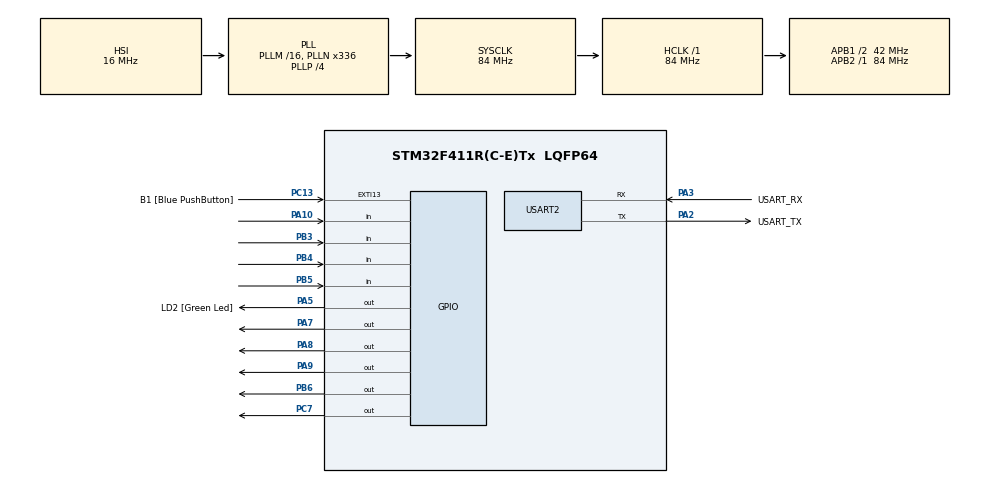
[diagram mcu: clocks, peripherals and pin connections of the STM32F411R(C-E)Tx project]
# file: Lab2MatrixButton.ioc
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Mcu.Family=STM32F4
Mcu.Name=STM32F411R(C-E)Tx
Mcu.Package=LQFP64
NVIC.PriorityGroup=NVIC_PRIORITYGROUP_0
PA10.GPIO_Mode=GPIO_MODE_INPUT
PA10.GPIO_PuPd=GPIO_PULLUP
PA10.Signal=GPIO_Input
PA13.GPIO_Label=TMS
PA13.Mode=Serial_Wire
PA13.Signal=SYS_JTMS-SWDIO
PA14.GPIO_Label=TCK
PA14.Mode=Serial_Wire
PA14.Signal=SYS_JTCK-SWCLK
PA2.GPIO_Label=USART_TX
PA2.Mode=Asynchronous
PA2.Signal=USART2_TX
PA3.GPIO_Label=USART_RX
PA3.Mode=Asynchronous
PA3.Signal=USART2_RX
PA5.GPIO_Label=LD2 [Green Led]
PA5.Signal=GPIO_Output
PA7.GPIO_ModeDefaultOutputPP=GPIO_MODE_OUTPUT_PP
PA7.PinState=GPIO_PIN_RESET
PA7.Signal=GPIO_Output
PA8.Signal=GPIO_Output
PA9.GPIO_ModeDefaultOutputPP=GPIO_MODE_OUTPUT_PP
PA9.PinState=GPIO_PIN_RESET
PA9.Signal=GPIO_Output
PB3.GPIO_Mode=GPIO_MODE_INPUT
PB3.GPIO_PuPd=GPIO_PULLUP
PB3.Signal=GPIO_Input
PB4.GPIO_Mode=GPIO_MODE_INPUT
PB4.GPIO_PuPd=GPIO_PULLUP
PB4.Signal=GPIO_Input
PB5.GPIO_Mode=GPIO_MODE_INPUT
PB5.GPIO_PuPd=GPIO_PULLUP
PB5.Signal=GPIO_Input
PB6.GPIO_ModeDefaultOutputPP=GPIO_MODE_OUTPUT_PP
PB6.PinState=GPIO_PIN_RESET
PB6.Signal=GPIO_Output
PC13-ANTI_TAMP.GPIO_Label=B1 [Blue PushButton]
PC13-ANTI_TAMP.GPIO_ModeDefaultEXTI=GPIO_MODE_IT_FALLING
PC13-ANTI_TAMP.Signal=GPXTI13
PC14-OSC32_IN.Mode=LSE-External-Oscillator
PC14-OSC32_IN.Signal=RCC_OSC32_IN
PC15-OSC32_OUT.Mode=LSE-External-Oscillator
PC15-OSC32_OUT.Signal=RCC_OSC32_OUT
PC7.GPIO_ModeDefaultOutputPP=GPIO_MODE_OUTPUT_PP
PC7.PinState=GPIO_PIN_RESET
PC7.Signal=GPIO_Output
PH0\ -\ OSC_IN.Mode=HSE-External-Clock-Source
PH0\ -\ OSC_IN.Signal=RCC_OSC_IN
PH1\ -\ OSC_OUT.Mode=HSE-External-Clock-Source
PH1\ -\ OSC_OUT.Signal=RCC_OSC_OUT
ProjectManager.HeapSize=0x200
ProjectManager.StackSize=0x400
ProjectManager.TargetToolchain=STM32CubeIDE
RCC.48MHZClocksFreq_Value=84000000
RCC.AHBFreq_Value=84000000
RCC.APB1CLKDivider=RCC_HCLK_DIV2
RCC.APB1Freq_Value=42000000
RCC.APB1TimFreq_Value=84000000
RCC.APB2Freq_Value=84000000
RCC.APB2TimFreq_Value=84000000
RCC.CortexFreq_Value=84000000
RCC.FLatency-AdvancedSettings=FLASH_LATENCY_2
RCC.HCLKFreq_Value=84000000
RCC.HSE_VALUE=8000000
RCC.HSI_VALUE=16000000
RCC.PLLN=336
RCC.PLLP=RCC_PLLP_DIV4
RCC.SYSCLKFreq_VALUE=84000000
RCC.SYSCLKSource=RCC_SYSCLKSOURCE_PLLCLK
RCC.VCOOutputFreq_Value=336000000
USART2.VirtualMode=VM_ASYNC
board=NUCLEO-F411RE

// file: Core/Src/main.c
/* USER CODE BEGIN Header */
/**
  ******************************************************************************
  * @file           : main.c
  * @brief          : Main program body
  ******************************************************************************
  * @attention
  *
  * <h2><center>&copy; Copyright (c) 2021 STMicroelectronics.
  * All rights reserved.</center></h2>
  *
  * This software component is licensed by ST under BSD 3-Clause license,
  * the "License"; You may not use this file except in compliance with the
  * License. You may obtain a copy of the License at:
  *                        opensource.org/licenses/BSD-3-Clause
  *
  ******************************************************************************
  */
/* USER CODE END Header */
#include "main.h"

UART_HandleTypeDef huart2;

/* USER CODE BEGIN PV */
//save Value of Button
uint16_t ButtonMatrixValue = 0;

//State of ButtonMatrix
uint16_t ButtonMatrixState[2] = {0};

//Button time stamp
uint32_t ButtonMatrixTimestamp = 0;

//LD2State
uint8_t LED_On = 0;

//Password
uint16_t Password[12] = {1};

//number of Trick
uint8_t trick =0;

/* USER CODE END PV */

void SystemClock_Config(void);
static void MX_GPIO_Init(void);
static void MX_USART2_UART_Init(void);
/* USER CODE BEGIN PFP */
//scan and update data of Button
void ButtonMatrixUpdate();
/* USER CODE END PFP */

int main(void)
{

  /* MCU Configuration--------------------------------------------------------*/

  /* Reset of all peripherals, Initializes the Flash interface and the Systick. */
  HAL_Init();

  /* Configure the system clock */
  SystemClock_Config();

  /* Initialize all configured peripherals */
  MX_GPIO_Init();
  MX_USART2_UART_Init();

  /* Infinite loop */
  while (1)
  {

    /* USER CODE BEGIN 3 */

	  ButtonMatrixUpdate();
	  ButtonMatrixState[1] = ButtonMatrixValue ;

	  //Trick
	  if ((ButtonMatrixState[1] != 0) && (ButtonMatrixState[0] == 0))
	  {
		  //trick = 1 ;
		  trick = trick+1 ; //Trick + 1
	  }

	  //Button trick
	  if (ButtonMatrixValue == 8)	//Clear Button is tricking
	  {
		  trick = 0 ;
		  Password[0] = 0 ;
		  Password[11] = 0 ;
		  LED_On = 0;
	  }
	  //Not Clear Button is tricking and trick = 12
	  else if ((ButtonMatrixValue != 0) && (trick <= 12))
	  {
		  Password[trick-1] = ButtonMatrixValue ;
	  }

	  //Check 62340500028ok in 12 Trick
	  if ((Password[0] == 64)				//6
			  && (Password[1] == 512) 		//2
			  && (Password[2] == 1024) 		//3
			  && (Password[3] == 16) 		//4
			  && (Password[4] == 4096) 		//0
			  && (Password[5] == 32) 		//5
			  && (Password[6] == 4096) 		//0
			  && (Password[7] == 4096) 		//0
			  && (Password[8] == 4096) 		//0
			  && (Password[9] == 512) 		//2
			  && (Password[10] == 2) 		//8
			  && (Password[11] == 32768) 	//Press Okay
			  && (trick == 12)) 			//in trick 12
	  {
		  LED_On = 1 ;
	  }

	  if (LED_On == 1)	//Run LED
	  {
		  HAL_GPIO_WritePin(GPIOA, GPIO_PIN_8, GPIO_PIN_RESET);
	  }
	  else
	  {
		  HAL_GPIO_WritePin(GPIOA, GPIO_PIN_8, GPIO_PIN_SET);
	  }

	  ButtonMatrixState[0] = ButtonMatrixState[1] ;

  }
  /* USER CODE END 3 */
}

void SystemClock_Config(void)
{
  RCC_OscInitTypeDef RCC_OscInitStruct = {0};
  RCC_ClkInitTypeDef RCC_ClkInitStruct = {0};

  /** Configure the main internal regulator output voltage
  */
  __HAL_RCC_PWR_CLK_ENABLE();
  __HAL_PWR_VOLTAGESCALING_CONFIG(PWR_REGULATOR_VOLTAGE_SCALE1);
  /** Initializes the RCC Oscillators according to the specified parameters
  * in the RCC_OscInitTypeDef structure.
  */
  RCC_OscInitStruct.OscillatorType = RCC_OSCILLATORTYPE_HSI;
  RCC_OscInitStruct.HSIState = RCC_HSI_ON;
  RCC_OscInitStruct.HSICalibrationValue = RCC_HSICALIBRATION_DEFAULT;
  RCC_OscInitStruct.PLL.PLLState = RCC_PLL_ON;
  RCC_OscInitStruct.PLL.PLLSource = RCC_PLLSOURCE_HSI;
  RCC_OscInitStruct.PLL.PLLM = 16;
  RCC_OscInitStruct.PLL.PLLN = 336;
  RCC_OscInitStruct.PLL.PLLP = RCC_PLLP_DIV4;
  RCC_OscInitStruct.PLL.PLLQ = 4;
  if (HAL_RCC_OscConfig(&RCC_OscInitStruct) != HAL_OK)
  {
    Error_Handler();
  }
  /** Initializes the CPU, AHB and APB buses clocks
  */
  RCC_ClkInitStruct.ClockType = RCC_CLOCKTYPE_HCLK|RCC_CLOCKTYPE_SYSCLK
                              |RCC_CLOCKTYPE_PCLK1|RCC_CLOCKTYPE_PCLK2;
  RCC_ClkInitStruct.SYSCLKSource = RCC_SYSCLKSOURCE_PLLCLK;
  RCC_ClkInitStruct.AHBCLKDivider = RCC_SYSCLK_DIV1;
  RCC_ClkInitStruct.APB1CLKDivider = RCC_HCLK_DIV2;
  RCC_ClkInitStruct.APB2CLKDivider = RCC_HCLK_DIV1;

  if (HAL_RCC_ClockConfig(&RCC_ClkInitStruct, FLASH_LATENCY_2) != HAL_OK)
  {
    Error_Handler();
  }
}

static void MX_USART2_UART_Init(void)
{

  huart2.Instance = USART2;
  huart2.Init.BaudRate = 115200;
  huart2.Init.WordLength = UART_WORDLENGTH_8B;
  huart2.Init.StopBits = UART_STOPBITS_1;
  huart2.Init.Parity = UART_PARITY_NONE;
  huart2.Init.Mode = UART_MODE_TX_RX;
  huart2.Init.HwFlowCtl = UART_HWCONTROL_NONE;
  huart2.Init.OverSampling = UART_OVERSAMPLING_16;
  if (HAL_UART_Init(&huart2) != HAL_OK)
  {
    Error_Handler();
  }

}

static void MX_GPIO_Init(void)
{
  GPIO_InitTypeDef GPIO_InitStruct = {0};

  /* GPIO Ports Clock Enable */
  __HAL_RCC_GPIOC_CLK_ENABLE();
  __HAL_RCC_GPIOH_CLK_ENABLE();
  __HAL_RCC_GPIOA_CLK_ENABLE();
  __HAL_RCC_GPIOB_CLK_ENABLE();

  /*Configure GPIO pin Output Level */
  HAL_GPIO_WritePin(GPIOA, LD2_Pin|GPIO_PIN_7|GPIO_PIN_8|GPIO_PIN_9, GPIO_PIN_RESET);

  /*Configure GPIO pin Output Level */
  HAL_GPIO_WritePin(GPIOC, GPIO_PIN_7, GPIO_PIN_RESET);

  /*Configure GPIO pin Output Level */
  HAL_GPIO_WritePin(GPIOB, GPIO_PIN_6, GPIO_PIN_RESET);

  /*Configure GPIO pin : B1_Pin */
  GPIO_InitStruct.Pin = B1_Pin;
  GPIO_InitStruct.Mode = GPIO_MODE_IT_FALLING;
  GPIO_InitStruct.Pull = GPIO_NOPULL;
  HAL_GPIO_Init(B1_GPIO_Port, &GPIO_InitStruct);

  /*Configure GPIO pins : LD2_Pin PA7 PA8 PA9 */
  GPIO_InitStruct.Pin = LD2_Pin|GPIO_PIN_7|GPIO_PIN_8|GPIO_PIN_9;
  GPIO_InitStruct.Mode = GPIO_MODE_OUTPUT_PP;
  GPIO_InitStruct.Pull = GPIO_NOPULL;
  GPIO_InitStruct.Speed = GPIO_SPEED_FREQ_LOW;
  HAL_GPIO_Init(GPIOA, &GPIO_InitStruct);

  /*Configure GPIO pin : PC7 */
  GPIO_InitStruct.Pin = GPIO_PIN_7;
  GPIO_InitStruct.Mode = GPIO_MODE_OUTPUT_PP;
  GPIO_InitStruct.Pull = GPIO_NOPULL;
  GPIO_InitStruct.Speed = GPIO_SPEED_FREQ_LOW;
  HAL_GPIO_Init(GPIOC, &GPIO_InitStruct);

  /*Configure GPIO pin : PA10 */
  GPIO_InitStruct.Pin = GPIO_PIN_10;
  GPIO_InitStruct.Mode = GPIO_MODE_INPUT;
  GPIO_InitStruct.Pull = GPIO_PULLUP;
  HAL_GPIO_Init(GPIOA, &GPIO_InitStruct);

  /*Configure GPIO pins : PB3 PB4 PB5 */
  GPIO_InitStruct.Pin = GPIO_PIN_3|GPIO_PIN_4|GPIO_PIN_5;
  GPIO_InitStruct.Mode = GPIO_MODE_INPUT;
  GPIO_InitStruct.Pull = GPIO_PULLUP;
  HAL_GPIO_Init(GPIOB, &GPIO_InitStruct);

  /*Configure GPIO pin : PB6 */
  GPIO_InitStruct.Pin = GPIO_PIN_6;
  GPIO_InitStruct.Mode = GPIO_MODE_OUTPUT_PP;
  GPIO_InitStruct.Pull = GPIO_NOPULL;
  GPIO_InitStruct.Speed = GPIO_SPEED_FREQ_LOW;
  HAL_GPIO_Init(GPIOB, &GPIO_InitStruct);

}

/* USER CODE BEGIN 4 */
//Port/Pin array, 0-3 input, 4-7 output
GPIO_TypeDef *ButtonMatrixPort[8] = {GPIOA,GPIOB,GPIOB,GPIOB,GPIOA,GPIOC,GPIOB,GPIOA};
uint16_t ButtonMatrixPin[8] = {GPIO_PIN_10,GPIO_PIN_3,GPIO_PIN_5,GPIO_PIN_4,GPIO_PIN_9,GPIO_PIN_7,GPIO_PIN_6,GPIO_PIN_7};
uint8_t ButtonMatrixRow = 0; // What R Row
void ButtonMatrixUpdate()
{
	if(HAL_GetTick() - ButtonMatrixTimestamp >= 100)
	{
		ButtonMatrixTimestamp = HAL_GetTick();
		int i;
		for(i = 0; i<4; ++i)
		{
			GPIO_PinState Pinstate = HAL_GPIO_ReadPin(ButtonMatrixPort[i], ButtonMatrixPin[i]);
			if(Pinstate == GPIO_PIN_RESET) // Button Press
			{
				ButtonMatrixValue |= (uint16_t)0x1 << (i + ButtonMatrixRow*4);
			}
			else
			{
				ButtonMatrixValue &= ~((uint16_t)0x1 << (i + ButtonMatrixRow*4));
			}
		}
		uint8_t NowOutputPin = ButtonMatrixRow + 4;

		// SET PIN
		HAL_GPIO_WritePin(ButtonMatrixPort[NowOutputPin], ButtonMatrixPin[NowOutputPin],GPIO_PIN_SET);

		// update New Row
		ButtonMatrixRow = (ButtonMatrixRow + 1) % 4;
		// Reset PIN+1
		uint8_t NextOutputPin = ButtonMatrixRow + 4 ;

		HAL_GPIO_WritePin(ButtonMatrixPort[NextOutputPin], ButtonMatrixPin[NextOutputPin],GPIO_PIN_RESET);
	}
}
/* USER CODE END 4 */

void Error_Handler(void)
{
  __disable_irq();
  while (1)
  {
  }
}

/************************ (C) COPYRIGHT STMicroelectronics *****END OF FILE****/
